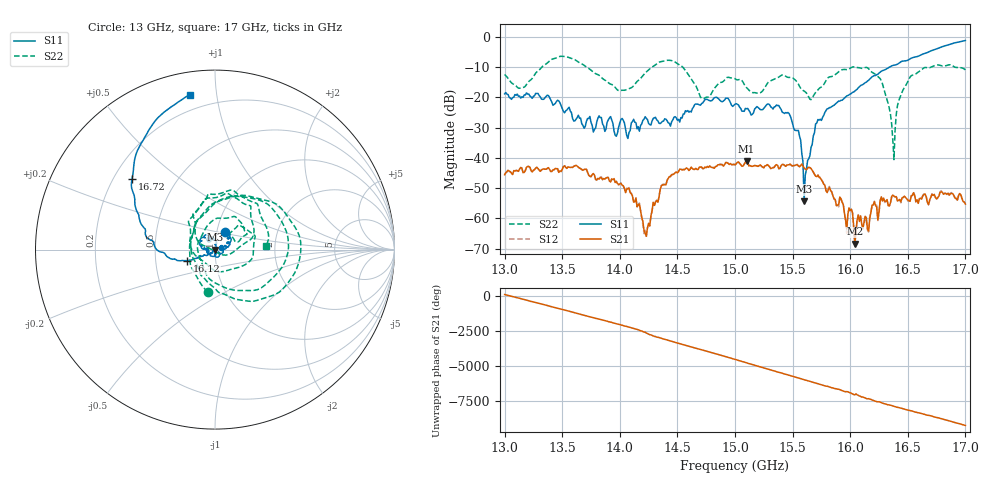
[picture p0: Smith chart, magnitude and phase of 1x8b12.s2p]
!Keysight Technologies,P9374A,MY57211807,A.19.30.04
!Date: Friday, May 08, 2026 14:24:58
!Correction: S11(C  2-Port  )
!S21(C  2-Port  )
!S12(C  2-Port  )
!S22(C  2-Port  )
!S2P File: Measurements: S11, S21, S12, S22:
# Hz S  dB  R 50
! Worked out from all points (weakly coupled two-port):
!   401 points, 13 GHz to 17 GHz, reference 50 ohm
!   highest |S21| = -41.12 dB at 15.1 GHz (marker M1); lowest = -68.4 dB at 16.04 GHz (marker M2)
!   lowest |S11| = -54.4 dB at 15.6 GHz (marker M3), VSWR 1.00, Z = 50.2 + j0.0335 ohm
!   |S11| at or under -10 dB: start of sweep to 16.34 GHz
!   |S22| runs from -40.6 to -6.4 dB; largest |S21 - S12| = 0.00048
!   S11 on the Smith chart (normalised r, x): 13 GHz: 1.09, +0.22; 16.12 GHz: 0.72, -0.09; 16.72 GHz: 0.28, +0.34; 17 GHz: 0.11, +0.84
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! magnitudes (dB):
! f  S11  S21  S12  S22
! 13 GHz  -18.8  -45.6  -45.6  -12.4
! 13.14 GHz  -20.2  -43.1  -43.2  -16.9
! 13.67 GHz  -28.7  -43.9  -43.7  -8.9
! 14.08 GHz  -31.6  -50.0  -49.8  -17.1
! 14.22 GHz  -26.4  -64.9  -63.6  -11.9
! 14.34 GHz  -28.5  -53.0  -52.9  -8.4
! 14.72 GHz  -21.8  -43.5  -43.5  -20.4
! 15 GHz  -22.3  -42.3  -42.2  -13.8
! 15.1 GHz  -23.7  -41.1  -41.1  -16.8
! 15.46 GHz  -25.0  -42.3  -42.2  -13.4
! 15.55 GHz  -30.9  -42.6  -42.6  -15.6
! 15.6 GHz  -54.4  -43.3  -43.4  -17.9
! 15.67 GHz  -35.5  -44.1  -44.0  -20.3
! 15.8 GHz  -23.7  -51.4  -51.4  -13.8
! 16.04 GHz  -17.9  -68.4  -69.2  -9.9
! 16.12 GHz  -15.4  -61.3  -61.7  -10.3
! 16.26 GHz  -11.7  -54.1  -54.1  -13.8
! 16.34 GHz  -10.0  -55.9  -55.6  -23.7
! 16.38 GHz  -9.3  -52.7  -52.5  -40.6
! 16.51 GHz  -7.5  -54.2  -54.0  -13.9
! 16.72 GHz  -4.4  -52.4  -52.5  -9.6
! 17 GHz  -1.2  -55.2  -55.1  -10.9
